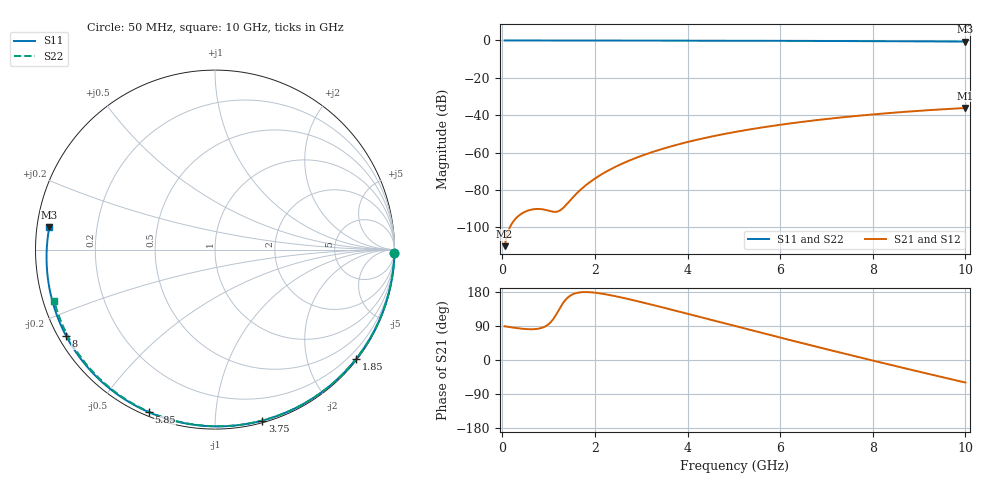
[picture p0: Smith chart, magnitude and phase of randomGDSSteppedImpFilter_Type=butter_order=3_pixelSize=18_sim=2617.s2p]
! freq	dB(S11)	phase(S11)	dB(S12)	phase(S12)
!  dB(S21)	phase(S21)	dB(S22)	phase(S22)
!S-par simulation data
#  GHz  S  DB  R 50
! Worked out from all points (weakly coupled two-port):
!   200 points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, 50 MHz to 10 GHz, reference 50 ohm
!   highest |S21| = -36.18 dB at 10 GHz (marker M1); lowest = -110.1 dB at 50 MHz (marker M2)
!   lowest |S11| = -0.6 dB at 10 GHz (marker M3), VSWR 28.22, Z = 1.78 + j3.4 ohm
!   |S11| at or under -10 dB: nowhere
!   |S22| runs from -0.5 to 0.0 dB; largest |S21 - S12| = 0
!   S11 on the Smith chart (normalised r, x): 50 MHz: open; 1.85 GHz: 0.03, -2.91; 3.75 GHz: 0.02, -1.31; 5.85 GHz: 0.02, -0.67; 8 GHz: 0.02, -0.27; 10 GHz: 0.04, +0.07
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0.05  -0.00 -1.0  -110.12 89.0  -110.12 89.0  -0.00 -1.0
0.4  -0.01 -8.3  -92.98 82.9  -92.98 82.9  -0.01 -7.6
0.8  -0.02 -16.6  -90.22 83.2  -90.22 83.2  -0.02 -15.1
1.2  -0.03 -24.8  -91.55 127.5  -91.55 127.5  -0.03 -22.6
1.65  -0.04 -33.9  -80.84 178.0  -80.84 178.0  -0.04 -30.9
1.7  -0.04 -34.9  -79.70 178.8  -79.70 178.8  -0.04 -31.8
1.75  -0.05 -35.9  -78.62 179.2  -78.62 179.2  -0.04 -32.7
1.85  -0.05 -37.9  -76.61 179.2  -76.61 179.2  -0.04 -34.5
2.15  -0.06 -43.8  -71.57 175.1  -71.57 175.1  -0.05 -40.0
2.5  -0.06 -50.7  -66.96 166.9  -66.96 166.9  -0.06 -46.2
2.9  -0.08 -58.5  -62.74 155.7  -62.74 155.7  -0.07 -53.3
3.4  -0.09 -68.0  -58.48 140.7  -58.48 140.7  -0.08 -61.9
3.75  -0.10 -74.5  -55.97 129.8  -55.97 129.8  -0.09 -67.8
4.4  -0.12 -86.5  -52.07 109.4  -52.07 109.4  -0.11 -78.6
5.05  -0.15 -98.1  -48.88 88.9  -48.88 88.9  -0.14 -89.0
5.85  -0.19 -112.2  -45.67 63.9  -45.67 63.9  -0.17 -101.4
6.7  -0.25 -127.0  -42.90 37.7  -42.90 37.7  -0.22 -114.2
7.35  -0.30 -138.3  -41.13 17.9  -41.13 17.9  -0.27 -123.7
8  -0.36 -149.8  -39.60 -1.5  -39.60 -1.5  -0.32 -133.1
8.35  -0.40 -156.1  -38.87 -11.8  -38.87 -11.8  -0.35 -138.2
9.2  -0.50 -171.9  -37.33 -36.6  -37.33 -36.6  -0.44 -150.4
10  -0.62 172.2  -36.18 -59.5  -36.18 -59.5  -0.53 -162.1
